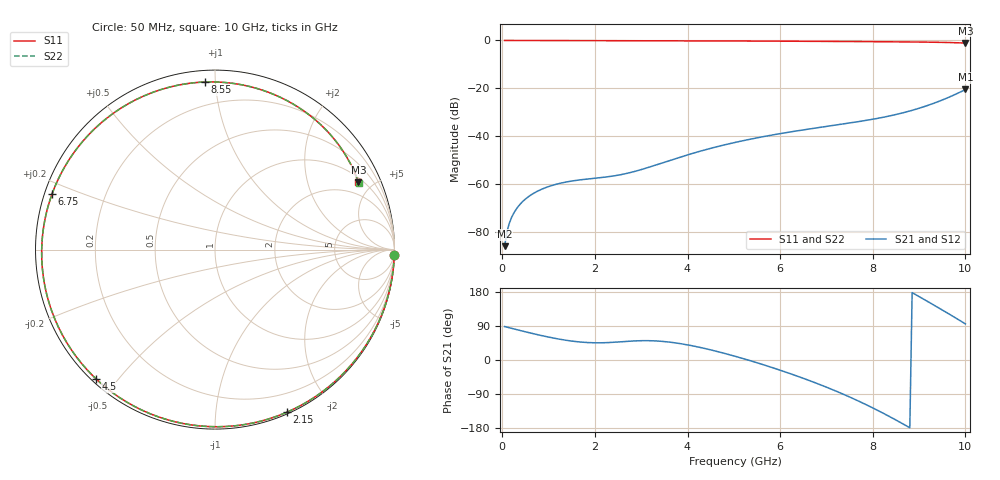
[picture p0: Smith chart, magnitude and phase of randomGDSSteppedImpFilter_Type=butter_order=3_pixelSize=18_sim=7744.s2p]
! freq	dB(S11)	phase(S11)	dB(S12)	phase(S12)
!  dB(S21)	phase(S21)	dB(S22)	phase(S22)
!S-par simulation data
#  GHz  S  DB  R 50
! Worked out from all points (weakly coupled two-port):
!   200 points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, 50 MHz to 10 GHz, reference 50 ohm
!   highest |S21| = -20.51 dB at 10 GHz (marker M1); lowest = -86.0 dB at 50 MHz (marker M2)
!   lowest |S11| = -1.1 dB at 10 GHz (marker M3), VSWR 16.05, Z = 61.2 + j208 ohm
!   |S11| at or under -10 dB: nowhere
!   |S22| runs from -1.1 to 0.0 dB; largest |S21 - S12| = 0
!   S11 on the Smith chart (normalised r, x): 50 MHz: 1, -71; 2.15 GHz: 0.02, -1.54; 4.5 GHz: 0.01, -0.44; 6.75 GHz: 0.02, +0.17; 8.55 GHz: 0.06, +0.94; 10 GHz: 1.22, +4.15
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0.05  -0.00 -1.6  -86.04 88.3  -86.04 88.3  -0.00 -1.6
0.1  -0.01 -3.2  -80.04 86.7  -80.04 86.7  -0.01 -3.2
0.2  -0.01 -6.3  -74.06 83.6  -74.06 83.6  -0.01 -6.3
0.3  -0.01 -9.5  -70.59 80.5  -70.59 80.5  -0.01 -9.5
0.6  -0.02 -18.9  -64.86 71.4  -64.86 71.4  -0.02 -18.9
1.1  -0.04 -34.4  -60.48 58.0  -60.48 58.0  -0.04 -34.5
1.75  -0.07 -54.2  -58.14 46.8  -58.14 46.8  -0.07 -54.2
2.15  -0.08 -66.1  -57.32 45.4  -57.32 45.4  -0.08 -66.1
2.75  -0.11 -83.5  -55.32 49.6  -55.32 49.6  -0.11 -83.5
3.4  -0.13 -101.9  -51.56 49.7  -51.56 49.7  -0.13 -101.9
4.5  -0.19 -132.5  -45.12 26.7  -45.12 26.7  -0.19 -132.5
5.05  -0.22 -147.9  -42.55 9.0  -42.55 9.0  -0.22 -147.9
5.9  -0.28 -172.4  -39.30 -22.8  -39.30 -22.8  -0.28 -172.5
6.7  -0.36 162.7  -36.82 -57.4  -36.82 -57.4  -0.36 162.6
6.75  -0.36 161.1  -36.68 -59.7  -36.68 -59.7  -0.36 161.0
7.55  -0.45 133.4  -34.39 -100.3  -34.39 -100.3  -0.45 133.2
8.35  -0.55 102.0  -31.63 -148.5  -31.63 -148.5  -0.55 101.8
8.55  -0.58 93.5  -30.75 -161.7  -30.75 -161.7  -0.58 93.3
8.9  -0.64 78.1  -28.95 174.4  -28.95 174.4  -0.64 77.9
9.25  -0.72 62.0  -26.75 149.8  -26.75 149.8  -0.72 61.7
9.65  -0.86 42.7  -23.70 121.2  -23.70 121.2  -0.87 42.4
10  -1.08 25.1  -20.51 95.3  -20.51 95.3  -1.09 24.8
